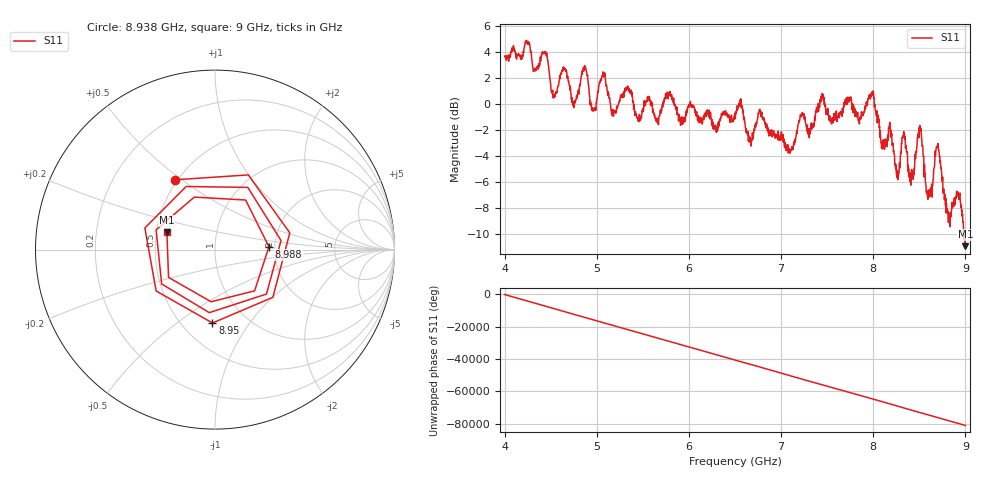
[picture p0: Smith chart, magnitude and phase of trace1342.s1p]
! Created with skrf 1.8.0 (http://scikit-rf.org).
# Hz S RI R 50.0
!freq ReS11 ImS11
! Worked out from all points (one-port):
!   1601 points, 4 GHz to 9 GHz, reference 50 ohm
!   lowest |S11| = -10.9 dB at 9 GHz (marker M1), VSWR 1.80, Z = 28.4 + j5.97 ohm
!   |S11| at or under -10 dB: 8.980818 GHz to 8.981543 GHz (725.7 kHz wide, 0.00808 % of centre); 8.985389 GHz to 8.990594 GHz (5.205 MHz wide, 0.0579 % of centre); 8.991259 GHz to end of sweep
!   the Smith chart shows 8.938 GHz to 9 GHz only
!   S11 on the Smith chart (normalised r, x): 8.938 GHz: 0.49, +0.47; 8.95 GHz: 0.70, -0.68; 8.988 GHz: 1.86, +0.06; 9 GHz: 0.57, +0.12
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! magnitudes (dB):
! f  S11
! 4 GHz  3.7
! 4.438 GHz  4.0
! 4.534 GHz  0.5
! 4.625 GHz  2.6
! 4.75 GHz  0.0
! 4.862 GHz  2.7
! 4.962 GHz  -0.5
! 5.066 GHz  2.3
! 5.175 GHz  -0.7
! 5.25 GHz  0.3
! 5.875 GHz  -0.6
! 6.5 GHz  -0.9
! 7.125 GHz  -3.4
! 7.441 GHz  0.7
! 7.75 GHz  0.5
! 7.984 GHz  0.9
! 8.256 GHz  -5.6
! 8.331 GHz  -2.1
! 8.375 GHz  -5.0
! 8.422 GHz  -5.6
! 8.503 GHz  -2.0
! 8.597 GHz  -7.2
! 8.697 GHz  -3.3
! 8.809 GHz  -8.4
! 8.938 GHz  -7.0
! 8.95 GHz  -7.8
! 8.988 GHz  -10.4
! 9 GHz  -10.9
